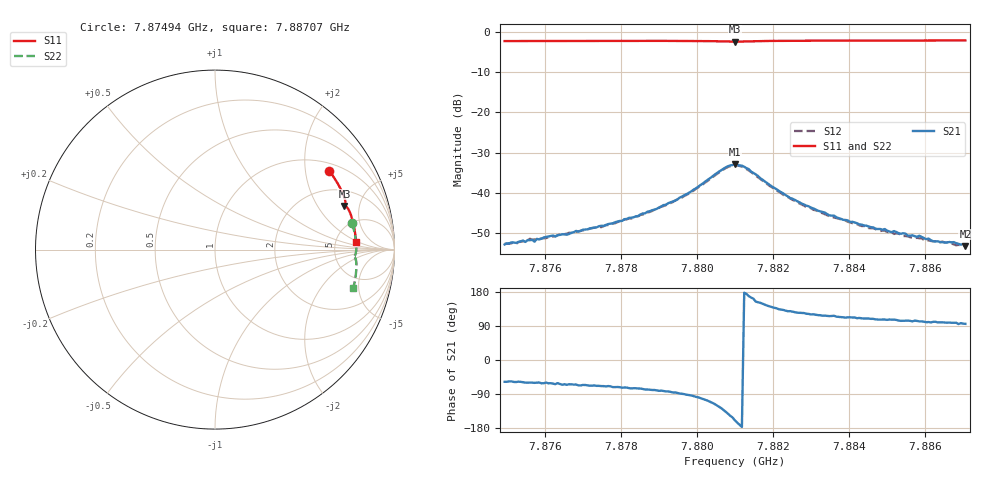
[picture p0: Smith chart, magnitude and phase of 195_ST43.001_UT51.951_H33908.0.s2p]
#  HZ  S  DB  R  50.00
! Rohde & Schwarz Vector Network Analyzer
! Rohde-Schwarz,ZNB20-2Port,1311601062101988,3.16
! Created: UTC 1/12/2023, 6:43:52 PM
! freq[Hz]  db:S11  ang:S11  db:S21  ang:S21  db:S12  ang:S12  db:S22  ang:S22
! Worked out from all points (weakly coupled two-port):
!   201 points, 7.87494 GHz to 7.88707 GHz, reference 50 ohm
!   highest |S21| = -32.81 dB at 7.88101 GHz (marker M1); lowest = -53.2 dB at 7.88707 GHz (marker M2)
!   lowest |S11| = -2.4 dB at 7.88101 GHz (marker M3), VSWR 7.36, Z = 154 + j177 ohm
!   |S11| at or under -10 dB: nowhere
!   |S22| runs from -2.3 to -1.9 dB; largest |S21 - S12| = 0.0017
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7.874941e9  -2.23 34.6  -52.87 -57.5  -52.66 -60.9  -2.17 10.8
7.875245e9  -2.23 33.8  -52.47 -58.2  -52.70 -62.5  -2.16 10.0
7.875426e9  -2.23 33.3  -51.89 -58.5  -52.10 -62.2  -2.16 9.7
7.87573e9  -2.22 32.5  -52.16 -60.3  -51.59 -64.3  -2.15 8.9
7.87579e9  -2.22 32.3  -51.47 -59.7  -51.58 -62.5  -2.15 8.8
7.876579e9  -2.21 30.2  -50.43 -65.4  -50.18 -67.8  -2.12 6.9
7.877003e9  -2.20 29.0  -49.19 -65.8  -49.36 -70.3  -2.11 5.9
7.878035e9  -2.19 26.2  -47.00 -73.0  -47.00 -75.6  -2.10 3.5
7.879005e9  -2.18 23.5  -43.67 -81.4  -43.78 -84.9  -2.07 1.2
7.879794e9  -2.20 21.2  -40.01 -92.5  -40.19 -96.2  -2.09 -0.8
7.880764e9  -2.35 18.7  -33.66 -136.7  -33.85 -139.9  -2.23 -2.9
7.881007e9  -2.37 18.6  -32.81 -159.6  -33.19 -162.3  -2.27 -2.9
7.881249e9  -2.34 18.6  -33.52 177.6  -33.77 175.3  -2.24 -2.9
7.882462e9  -2.16 15.4  -41.32 128.9  -41.43 125.3  -2.04 -5.4
7.883069e9  -2.14 13.7  -43.90 120.7  -44.24 117.6  -2.01 -6.8
7.884039e9  -2.12 11.1  -47.28 112.7  -47.37 109.4  -1.98 -9.1
7.88507e9  -2.10 8.3  -49.63 106.9  -49.84 102.5  -1.96 -11.4
7.885556e9  -2.10 7.1  -50.69 103.8  -50.85 99.2  -1.96 -12.5
7.885859e9  -2.09 6.3  -50.70 101.8  -51.33 97.9  -1.95 -13.1
7.886223e9  -2.09 5.3  -52.07 100.7  -52.08 97.6  -1.95 -13.9
7.886769e9  -2.08 3.9  -52.27 98.4  -52.86 96.0  -1.94 -15.1
7.887072e9  -2.08 3.1  -53.24 95.4  -53.29 94.1  -1.94 -15.7
